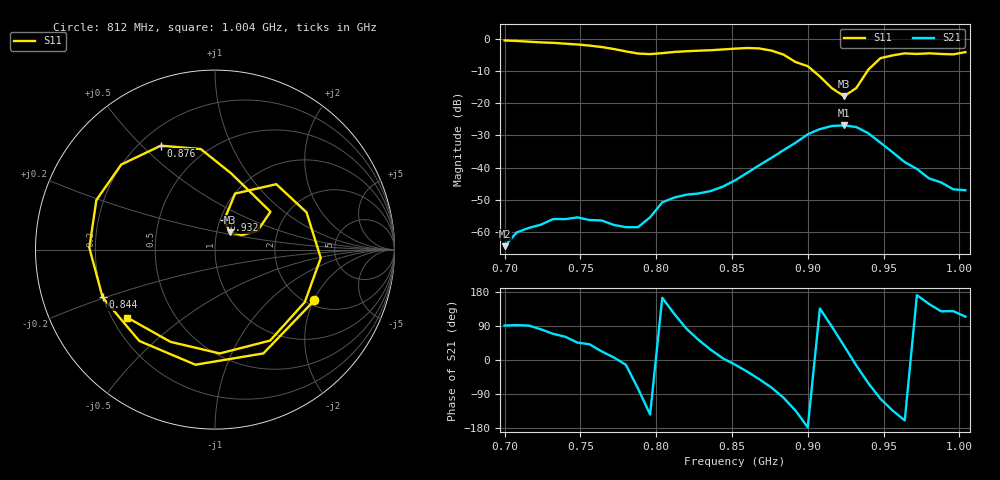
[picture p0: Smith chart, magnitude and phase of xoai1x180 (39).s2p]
# Hz S RI R 50
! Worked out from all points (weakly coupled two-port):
!   39 points, 700 MHz to 1.004 GHz, reference 50 ohm
!   highest |S21| = -26.88 dB at 924 MHz (marker M1); lowest = -64.3 dB at 700 MHz (marker M2)
!   lowest |S11| = -17.8 dB at 924 MHz (marker M3), VSWR 1.30, Z = 58.1 + j11.4 ohm
!   |S11| at or under -10 dB: 903.7 MHz to 939.4 MHz (35.76 MHz wide, 3.88 % of centre)
!   S12 and S22 are empty: the file has one direction only
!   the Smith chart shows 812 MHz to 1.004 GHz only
!   S11 on the Smith chart (normalised r, x): 812 MHz: 2.20, -2.03; 844 MHz: 0.20, -0.20; 876 MHz: 0.28, +0.57; 932 MHz: 1.05, +0.35; 1.004 GHz: 0.26, -0.32
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7e8  0.7572 0.5525  -1.09e-05 0.000609  0 0  0 0
7.24e8  0.8402 -0.2428  0.000209 0.0013  0 0  0 0
7.4e8  0.4571 -0.6996  0.000765 0.0014  0 0  0 0
7.56e8  -0.1911 -0.7572  0.00116 0.00103  0 0  0 0
7.72e8  -0.6618 -0.2006  0.00129 0.000154  0 0  0 0
7.8e8  -0.5932 0.2252  0.00117 -0.000263  0 0  0 0
7.88e8  -0.2448 0.5346  0.000306 -0.00116  0 0  0 0
7.96e8  0.2409 0.5228  -0.00138 -0.00101  0 0  0 0
8.04e8  0.5712 0.1721  -0.0028 0.000796  0 0  0 0
8.12e8  0.5537 -0.283  -0.0018 0.00295  0 0  0 0
8.28e8  -0.1093 -0.6414  0.00241 0.00319  0 0  0 0
8.44e8  -0.6261 -0.2662  0.00509 0.000404  0 0  0 0
8.52e8  -0.7001 0.0101  0.00622 -0.00135  0 0  0 0
8.76e8  -0.3017 0.5792  0.00427 -0.0135  0 0  0 0
9e8  0.3091 0.2108  -0.033 -0.00122  0 0  0 0
9.08e8  0.2369 0.1046  -0.0285 0.0277  0 0  0 0
9.24e8  0.0849 0.0966  0.0361 0.0273  0 0  0 0
9.32e8  0.0508 0.1639  0.0414 -0.0106  0 0  0 0
9.48e8  0.3415 0.3644  -0.00528 -0.0238  0 0  0 0
9.56e8  0.51 0.2075  -0.0119 -0.0126  0 0  0 0
9.8e8  0.3074 -0.5067  -0.00579 0.00364  0 0  0 0
1.004e9  -0.4881 -0.379  -0.00185 0.00408  0 0  0 0
